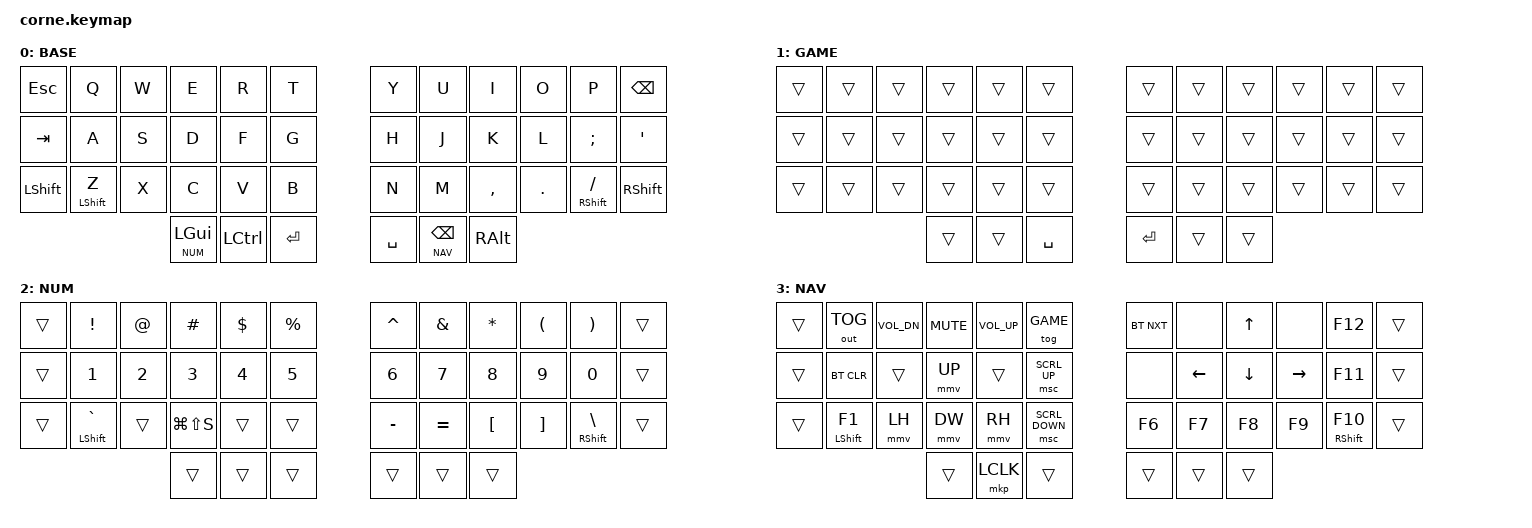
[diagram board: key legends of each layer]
#include <behaviors.dtsi>
#include <dt-bindings/zmk/keys.h>
#include <dt-bindings/zmk/bt.h>
#include <dt-bindings/zmk/outputs.h>


#define ZMK_POINTING_DEFAULT_MOVE_VAL 1500  // default: 600
#define ZMK_POINTING_DEFAULT_SCRL_VAL 20    // default: 10
#include <dt-bindings/zmk/pointing.h>




#define MOVE_DOWN DW
#define MOVE_UP UP
#define MOVE_LEFT LH
#define MOVE_RIGHT RH

#define BASE 0
#define GAME 1
#define NUM  2
#define NAV  3

/ {
keymap {
    compatible = "zmk,keymap";

/*                                  
*  DEFAULT               _____                                               _____
*                 .-----|  E  |-----._____                       _____.-----|  I  |-----.
*      _____.-----|  W  |_____|  R  |  T  |                     |  Y  |  U  |_____|  O  |-----._____
*     | ESC |  Q  |-----|  D  |-----|_____|                     |_____|-----|  K  |-----|  P  | BSP |  
*     |_____|-----|  S  |_____|  F  |  G  |                     |  H  |  J  |_____|  L  |-----|_____|  
*     | TAB |  A  |-----|  C  |-----|_____|                     |_____|-----| , < |-----| ; : | ' " |  
*     |_____|-----|  X  |_____|  V  |  B  |                     |  N  |  M  |_____| . > |-----|_____|  
*     |SHIFT|  Z  |-----'   .-'---.=|_____|.-.._           _..-.|_____|=.---'-.   '-----| / ? |SHIFT|
*     !_____!-----'         | GUI | CTRL| /     /         \     \ | BSP | ALT |         '-----!_____!
*              |            '-----!_____!/ ENT /           \ SPC \!_____!-----'            |
*            SHIFT             |        '--.._/             \_..--'  |                   SHIFT                                                                                                                                       
*                             NUM                                   NAV
*/

default_layer {
    label = "BASE";
    bindings = <
        &kp ESC     &kp Q       &kp W       &kp E       &kp R       &kp T               &kp Y       &kp U       &kp I       &kp O       &kp P       &kp BSPC
        &kp TAB     &kp A       &kp S       &kp D       &kp F       &kp G               &kp H       &kp J       &kp K       &kp L       &kp SEMI    &kp SQT
        &kp LSHFT   &mt LSHFT Z &kp X       &kp C       &kp V       &kp B               &kp N       &kp M       &kp COMMA   &kp DOT  &mt RSHFT FSLH &kp RSHFT
                                      &lhkt NUM LGUI &kp LCTRL  &kp ENTER               &kp SPACE   &lhkt NAV BSPC &kp RALT
    >;
};

/* 
*  GAME - this just swaps space and enter
*/

game_layer {
    label = "GAME";
    bindings = <
        &trans      &trans      &trans      &trans      &trans      &trans              &trans      &trans      &trans      &trans      &trans      &trans
        &trans      &trans      &trans      &trans      &trans      &trans              &trans      &trans      &trans      &trans      &trans      &trans
        &trans      &trans      &trans      &trans      &trans      &trans              &trans      &trans      &trans      &trans      &trans      &trans
                                            &trans      &trans   &kp SPACE              &kp ENTER   &trans      &trans
    >;
};

/*                                  
*  NUMBERS               _____                                               _____
*                 .-----|  #  |-----._____                       _____.-----|  *  |-----.
*      _____.-----|  @  |_____|  $  |  %  |                     |  ^  |  &  |_____|  (  |-----._____
*     | ESC |  !  |-----|  3  |-----|_____|                     |_____|-----|  8  |-----|  )  | BSP |  
*     |_____|-----|  2  |_____|  4  |  5  |                     |  6  |  7  |_____|  9  |-----|_____|  
*     | TAB |  1  |-----|SCRSH|-----|_____|                     |_____|-----| [ { |-----|  0  | ' " |  
*     |_____|-----|     |_____|     |     |                     | - _ | = + |_____| ] } |-----|_____|  
*     |SHIFT| ` ~ |-----'   .-'---.=|_____|.-.._           _..-.|_____|=.---'-.   '-----| \ | |SHIFT|
*     !_____!-----'         | GUI | CTRL| /     /         \     \ | BSP | ALT |         '-----!_____!
*              |            '-----!_____!/ ENT /           \ SPC \!_____!-----'            |
*            SHIFT             |        '--.._/             \_..--'  |                   SHIFT                                                                                                                                       
*                             NUM                                   NAV
*/

numbers_layer {
    label = "NUM";
    bindings = <
        &trans      &kp EXCL    &kp AT      &kp HASH    &kp DLLR    &kp PRCNT           &kp CARET   &kp AMPS    &kp ASTRK   &kp LPAR    &kp RPAR    &trans      
        &trans      &kp N1      &kp N2      &kp N3      &kp N4      &kp N5              &kp N6      &kp N7      &kp N8      &kp N9      &kp N0      &trans      
        &trans  &mt LSHFT GRAVE &trans    &kp LG(LS(S)) &trans      &trans              &kp MINUS   &kp EQUAL   &kp LBKT    &kp RBKT &mt RSHFT BSLH &trans      
                                            &trans      &trans      &trans              &trans      &trans      &trans      
    >;
};

/*                                  
*  NAVIGATION            _____                                               _____
*                 .-----| MUTE|-----._____                       _____.-----| UP  |-----.
*      _____.-----|VDOWN|_____| VUP | SWAP|                     |BTNXT|BRI_D|_____|BRI_U|-----._____
*     | ESC |BTTOG|-----|     |-----|_____|                     |_____|-----| DOWN|-----| F12 | BSP |  
*     |_____|-----|     |_____|     |RGB_E|                     |UNGLW| LEFT|_____|RIGHT|-----|_____|  
*     | TAB |BTCLR|-----| F3  |-----|_____|                     |_____|-----| F8  |-----| F11 | ' " |  
*     |_____|-----| F2  |_____| F4  | F5  |                     | F6  | F7  |_____| F9  |-----|_____|  
*     |SHIFT| F1  |-----'   .-'---.=|_____|.-.._           _..-.|_____|=.---'-.   '-----| F10 |SHIFT|
*     !_____!-----'         | GUI | CTRL| /     /         \     \ | BSP | ALT |         '-----!_____!
*              |            '-----!_____!/ ENT /           \ SPC \!_____!-----'            |
*            SHIFT             |        '--.._/             \_..--'  |                   SHIFT                                                                                                                                       
*                             NUM                                   NAV
*/

navigation_layer {
    label = "NAV";
    bindings = <
        &trans    &out OUT_TOG &kp C_VOL_DN &kp C_MUTE  &kp C_VOL_UP &tog GAME           &bt BT_NXT  &none       &kp UP      &none       &kp F12     &trans      
        &trans     &bt BT_CLR  &trans       &mmv UP      &trans     &msc SCRL_UP         &none       &kp LEFT    &kp DOWN    &kp RIGHT   &kp F11     &trans      
        &trans    &mt LSHFT F1 &mmv LH      &mmv DW      &mmv RH    &msc SCRL_DOWN       &kp F6      &kp F7      &kp F8      &kp F9    &mt RSHFT F10 &trans      
                                            &trans       &mkp LCLK    &trans             &trans      &trans      &trans      
    >;
};

};
};

/ {
combos {
    compatible = "zmk,combos";

/* 
*  COMBOS
*                                               _____________________         _____________________
*                                            __|__                   |       |                   __|__ 
*          _______________          _____   |     |                  v       v                  |     |   _____          _______________
*         |               |  .-----|  3  |-----._____                                         _____.-----|  8  |-----.  |               |
*         v       _____.-----|  2  |_____|  4  |  5  |               (       )               |  6  |  7  |_____|  9  |-----._____       v
*             __ |  0  |  1  |-----| 15  |-----|_____| --.__  +                     -  __.-- |_____|-----| 20  |-----| 10  | 11  | __
*     ESC  --|__ |_____|-----| 14  |_____| 16  | 17  | --'           [       ]           '-- | 18  | 19  |_____| 21  |-----|_____| __|--  "
*             __ | 12  | 13  |-----| 27  |-----|_____| --.__  *                     =  __.-- |_____|-----| 32  |-----| 22  | 23  | __ 
*     TAB  --|__ |_____|-----| 26  |_____| 28  | 29  | --'           {       }           '-- | 30  | 31  |_____| 33  |-----|_____| __|--  '
*                | 24  | 25  |-----'   .-'---.=|_____|.-.._                             _..-.|_____|=.---'-.   '-----| 34  | 35  | 
*                !_____!-----'         | 36  | 37  | /     /                           \     \ | 40  | 41  |         '-----!_____!
*                                      '-----!_____!/ 38  /                             \ 39  \!_____!-----'          
*                                                  '--.._/                               \_..--'  |_____|
*                                                                                                    |
*                                                                                                   DEL       
*/

// ESC
    combo_esc {
        timeout-ms = <20>;
        key-positions = <1 13>;
        bindings = <&kp ESC>;
    };

// TAB
    combo_tab {
        timeout-ms = <20>;
        key-positions = <13 25>;
        bindings = <&kp TAB>;
    };

// '
    combo_sqt {
        timeout-ms = <20>;
        key-positions = <22 34>;
        bindings = <&kp SQT>;
    };

// "
    combo_dqt {
        timeout-ms = <20>;
        key-positions = <10 22>;
        bindings = <&kp DQT>;
    };

// ()
    combo_lpar {
        timeout-ms = <20>;
        key-positions = <4 5>;
        bindings = <&kp LPAR>;
    };

    combo_rpar {
        timeout-ms = <20>;
        key-positions = <6 7>;
        bindings = <&kp RPAR>;
    };

// []
    combo_lbkt {
        timeout-ms = <20>;
        key-positions = <16 17>;
        bindings = <&kp LBKT>;
    };

    combo_rbkt {
        timeout-ms = <20>;
        key-positions = <18 19>;
        bindings = <&kp RBKT>;
    };

// {}
    combo_lbrc {
        timeout-ms = <20>;
        key-positions = <28 29>;
        bindings = <&kp LBRC>;
    };

    combo_rbrc {
        timeout-ms = <20>;
        key-positions = <30 31>;
        bindings = <&kp RBRC>;
    };

// DEL
    combo_del {
        timeout-ms = <20>;
        key-positions = <40 41>;
        bindings = <&kp DEL>;
    };

// +
    combo_plus {
        timeout-ms = <20>;
        key-positions = <5 17>;
        bindings = <&kp PLUS>;
    };

// *
    combo_astrk {
        timeout-ms = <20>;
        key-positions = <17 29>;
        bindings = <&kp ASTRK>;
    };

// -
    combo_minus {
        timeout-ms = <20>;
        key-positions = <6 18>;
        bindings = <&kp MINUS>;
    };

// =
    combo_equal {
        timeout-ms = <20>;
        key-positions = <18 30>;
        bindings = <&kp EQUAL>;
    };

};
};

/ {
macros {

// Screenshot
    SCRSHT: scrsht {
        label = "Screenshot";
        compatible = "zmk,behavior-macro";
        #binding-cells = <0>;
        bindings
            = <&macro_press &kp LGUI>
            , <&macro_press &kp LSHFT>
            , <&macro_tap &kp S>
            , <&macro_release &kp LSHFT>
            , <&macro_release &kp LGUI>
            ;
    };
};
};

/ {
behaviors {

    lhkt: layer_hold_key_tap {
        compatible = "zmk,behavior-hold-tap";
        label = "LAYER_HOLD_KEY_TAP";
        #binding-cells = <2>;
        tapping-term-ms = <200>;    // <---[[moderate duration]]
        quick-tap-ms = <0>;
        flavor = "hold-preferred";
        bindings = <&mo>, <&kp>;
    };
};
};
